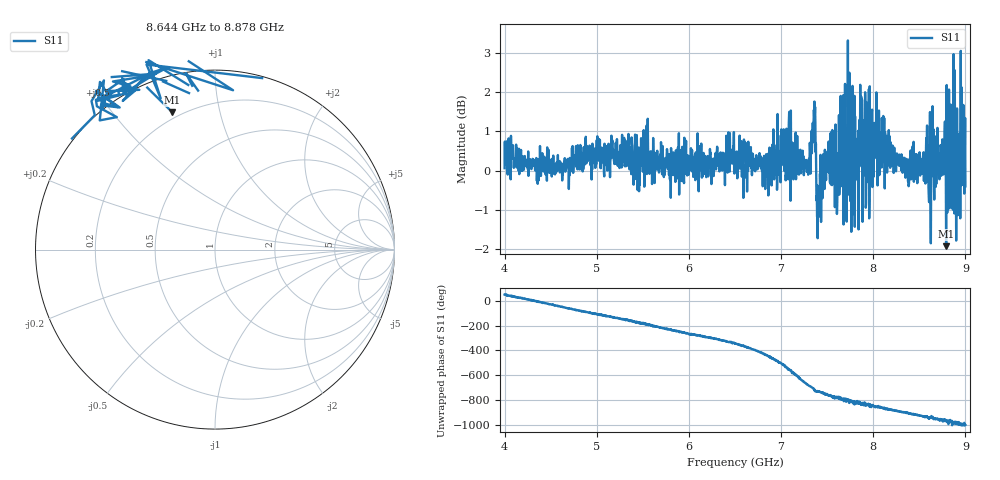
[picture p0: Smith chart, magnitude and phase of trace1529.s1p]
! Created with skrf 1.8.0 (http://scikit-rf.org).
# Hz S RI R 50.0
!freq ReS11 ImS11
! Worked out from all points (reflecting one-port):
!   1601 points, 4 GHz to 9 GHz, reference 50 ohm
!   lowest |S11| = -1.9 dB at 8.791 GHz (marker M1), VSWR 9.07, Z = 8.45 + j36.1 ohm
!   phase of S11 starts at 51 deg and turns -1053 deg over the sweep
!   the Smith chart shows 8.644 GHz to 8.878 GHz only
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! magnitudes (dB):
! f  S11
! 4 GHz  0.1
! 4.625 GHz  -0.3
! 5.25 GHz  0.3
! 5.875 GHz  0.1
! 6.5 GHz  0.4
! 6.809 GHz  0.0
! 7.084 GHz  1.2
! 7.125 GHz  0.1
! 7.284 GHz  0.1
! 7.353 GHz  1.2
! 7.409 GHz  -1.0
! 7.481 GHz  0.2
! 7.575 GHz  0.5
! 7.609 GHz  -0.9
! 7.669 GHz  0.1
! 7.703 GHz  0.6
! 7.75 GHz  -0.8
! 7.775 GHz  2.2
! 7.853 GHz  1.3
! 7.981 GHz  -0.3
! 8.009 GHz  0.8
! 8.375 GHz  0.1
! 8.612 GHz  0.5
! 8.791 GHz  -1.9
! 8.819 GHz  0.5
! 8.919 GHz  -1.1
! 8.972 GHz  0.5
! 9 GHz  -0.4
